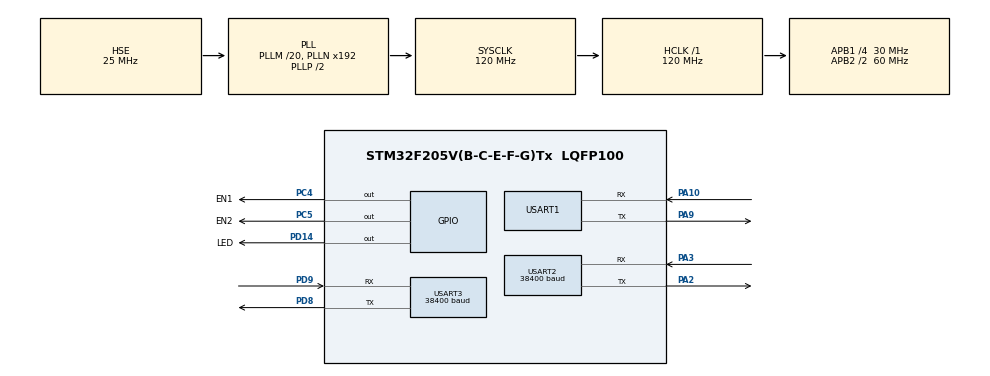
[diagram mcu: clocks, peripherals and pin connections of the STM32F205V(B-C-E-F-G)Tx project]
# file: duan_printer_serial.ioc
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Dma.Request0=USART2_RX
Dma.Request1=USART2_TX
Dma.Request2=USART3_RX
Dma.Request3=USART3_TX
Dma.USART2_RX.0.Direction=DMA_PERIPH_TO_MEMORY
Dma.USART2_RX.0.FIFOMode=DMA_FIFOMODE_DISABLE
Dma.USART2_RX.0.Instance=DMA1_Stream5
Dma.USART2_RX.0.MemDataAlignment=DMA_MDATAALIGN_BYTE
Dma.USART2_RX.0.MemInc=DMA_MINC_ENABLE
Dma.USART2_RX.0.Mode=DMA_NORMAL
Dma.USART2_RX.0.PeriphDataAlignment=DMA_PDATAALIGN_BYTE
Dma.USART2_RX.0.PeriphInc=DMA_PINC_DISABLE
Dma.USART2_RX.0.Priority=DMA_PRIORITY_LOW
Dma.USART2_TX.1.Direction=DMA_MEMORY_TO_PERIPH
Dma.USART2_TX.1.FIFOMode=DMA_FIFOMODE_DISABLE
Dma.USART2_TX.1.Instance=DMA1_Stream6
Dma.USART2_TX.1.MemDataAlignment=DMA_MDATAALIGN_BYTE
Dma.USART2_TX.1.MemInc=DMA_MINC_ENABLE
Dma.USART2_TX.1.Mode=DMA_NORMAL
Dma.USART2_TX.1.PeriphDataAlignment=DMA_PDATAALIGN_BYTE
Dma.USART2_TX.1.PeriphInc=DMA_PINC_DISABLE
Dma.USART2_TX.1.Priority=DMA_PRIORITY_LOW
Dma.USART3_RX.2.Direction=DMA_PERIPH_TO_MEMORY
Dma.USART3_RX.2.FIFOMode=DMA_FIFOMODE_DISABLE
Dma.USART3_RX.2.Instance=DMA1_Stream1
Dma.USART3_RX.2.MemDataAlignment=DMA_MDATAALIGN_BYTE
Dma.USART3_RX.2.MemInc=DMA_MINC_ENABLE
Dma.USART3_RX.2.Mode=DMA_NORMAL
Dma.USART3_RX.2.PeriphDataAlignment=DMA_PDATAALIGN_BYTE
Dma.USART3_RX.2.PeriphInc=DMA_PINC_DISABLE
Dma.USART3_RX.2.Priority=DMA_PRIORITY_LOW
Dma.USART3_TX.3.Direction=DMA_MEMORY_TO_PERIPH
Dma.USART3_TX.3.FIFOMode=DMA_FIFOMODE_DISABLE
Dma.USART3_TX.3.Instance=DMA1_Stream3
Dma.USART3_TX.3.MemDataAlignment=DMA_MDATAALIGN_BYTE
Dma.USART3_TX.3.MemInc=DMA_MINC_ENABLE
Dma.USART3_TX.3.Mode=DMA_NORMAL
Dma.USART3_TX.3.PeriphDataAlignment=DMA_PDATAALIGN_BYTE
Dma.USART3_TX.3.PeriphInc=DMA_PINC_DISABLE
Dma.USART3_TX.3.Priority=DMA_PRIORITY_LOW
Mcu.Family=STM32F2
Mcu.Name=STM32F205V(B-C-E-F-G)Tx
Mcu.Package=LQFP100
NVIC.DMA1_Stream1_IRQn=true\:0\:0\:false\:false\:true\:false\:true\:true
NVIC.DMA1_Stream3_IRQn=true\:0\:0\:false\:false\:true\:false\:true\:true
NVIC.DMA1_Stream5_IRQn=true\:0\:0\:false\:false\:true\:false\:true\:true
NVIC.DMA1_Stream6_IRQn=true\:0\:0\:false\:false\:true\:false\:true\:true
NVIC.PriorityGroup=NVIC_PRIORITYGROUP_4
NVIC.USART1_IRQn=true\:0\:0\:false\:false\:true\:true\:true\:true
NVIC.USART2_IRQn=true\:0\:0\:false\:false\:true\:true\:true\:true
NVIC.USART3_IRQn=true\:0\:0\:false\:false\:true\:true\:true\:true
PA10.Mode=Asynchronous
PA10.Signal=USART1_RX
PA13.Mode=Serial_Wire
PA13.Signal=SYS_JTMS-SWDIO
PA14.Mode=Serial_Wire
PA14.Signal=SYS_JTCK-SWCLK
PA2.Mode=Asynchronous
PA2.Signal=USART2_TX
PA3.Mode=Asynchronous
PA3.Signal=USART2_RX
PA9.Mode=Asynchronous
PA9.Signal=USART1_TX
PC4.GPIO_Label=EN1
PC4.GPIO_PuPd=GPIO_PULLDOWN
PC4.Signal=GPIO_Output
PC5.GPIO_Label=EN2
PC5.GPIO_PuPd=GPIO_PULLUP
PC5.Signal=GPIO_Output
PD14.GPIO_Label=LED
PD14.Signal=GPIO_Output
PD8.Mode=Asynchronous
PD8.Signal=USART3_TX
PD9.Mode=Asynchronous
PD9.Signal=USART3_RX
PH0-OSC_IN.Mode=HSE-External-Oscillator
PH0-OSC_IN.Signal=RCC_OSC_IN
PH1-OSC_OUT.Mode=HSE-External-Oscillator
PH1-OSC_OUT.Signal=RCC_OSC_OUT
ProjectManager.HeapSize=0x200
ProjectManager.StackSize=0x400
ProjectManager.TargetToolchain=STM32CubeIDE
RCC.48MHZClocksFreq_Value=60000000
RCC.AHBFreq_Value=120000000
RCC.APB1CLKDivider=RCC_HCLK_DIV4
RCC.APB1Freq_Value=30000000
RCC.APB1TimFreq_Value=60000000
RCC.APB2CLKDivider=RCC_HCLK_DIV2
RCC.APB2Freq_Value=60000000
RCC.APB2TimFreq_Value=120000000
RCC.CortexFreq_Value=120000000
RCC.HCLKFreq_Value=120000000
RCC.HSE_VALUE=25000000
RCC.HSI_VALUE=16000000
RCC.LSE_VALUE=32768
RCC.PLLM=20
RCC.PLLSourceVirtual=RCC_PLLSOURCE_HSE
RCC.SYSCLKFreq_VALUE=120000000
RCC.SYSCLKSource=RCC_SYSCLKSOURCE_PLLCLK
RCC.VCOOutputFreq_Value=240000000
USART1.VirtualMode=VM_ASYNC
USART2.BaudRate=38400
USART2.VirtualMode=VM_ASYNC
USART3.BaudRate=38400
USART3.VirtualMode=VM_ASYNC
board=custom

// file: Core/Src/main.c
/* USER CODE BEGIN Header */
/**
  ******************************************************************************
  * @file           : main.c
  * @brief          : Main program body
  ******************************************************************************
  * @attention
  *
  * Copyright (c) 2024 STMicroelectronics.
  * All rights reserved.
  *
  * This software is licensed under terms that can be found in the LICENSE file
  * in the root directory of this software component.
  * If no LICENSE file comes with this software, it is provided AS-IS.
  *
  ******************************************************************************
  */
/* USER CODE END Header */
#include "main.h"

/* USER CODE BEGIN Includes */
#include "stdio.h"
#include "string.h"
#include "stdbool.h"
#include "FLASH_SECTOR_F2.h"
/* USER CODE END Includes */

/* USER CODE BEGIN PD */
#define FLASH_SECTOR_ADDRESS1 ADDR_FLASH_SECTOR_1	/* Base @ of Sector 0, 16 Kbytes */
#define FLASH_SECTOR_ADDRESS2 ADDR_FLASH_SECTOR_2	/* Base @ of Sector 1, 16 Kbytes */
#define FLASH_SECTOR_ADDRESS3 ADDR_FLASH_SECTOR_3	/* Base @ of Sector 2, 16 Kbytes */
#define FLASH_SECTOR_ADDRESS4 ADDR_FLASH_SECTOR_4	/* Base @ of Sector 3, 16 Kbytes */
#define FLASH_SECTOR_ADDRESS5 ADDR_FLASH_SECTOR_5	/* Base @ of Sector 4, 64 Kbytes */
#define FLASH_SECTOR_ADDRESS6 ADDR_FLASH_SECTOR_6	/* Base @ of Sector 5, 128 Kbytes */
#define FLASH_SECTOR_ADDRESS7 ADDR_FLASH_SECTOR_7	/* Base @ of Sector 6, 128 Kbytes */
#define FLASH_SECTOR_ADDRESS8 ADDR_FLASH_SECTOR_8	/* Base @ of Sector 7, 128 Kbytes */
#define FLASH_SECTOR_ADDRESS9 ADDR_FLASH_SECTOR_9	/* Base @ of Sector 8, 128 Kbytes */
#define FLASH_SECTOR_ADDRESS10 ADDR_FLASH_SECTOR_10	/* Base @ of Sector 9, 128 Kbytes */
#define FLASH_SECTOR_ADDRESS11 ADDR_FLASH_SECTOR_11	/* Base @ of Sector 10, 128 Kbytes */
#define FLASH_SECTOR_ADDRESS12 ADDR_FLASH_SECTOR_12	/* Base @ of Sector 11, 128 Kbytes */
/* USER CODE END PD */

UART_HandleTypeDef huart1;
UART_HandleTypeDef huart2;
UART_HandleTypeDef huart3;
DMA_HandleTypeDef hdma_usart2_rx;
DMA_HandleTypeDef hdma_usart2_tx;
DMA_HandleTypeDef hdma_usart3_rx;
DMA_HandleTypeDef hdma_usart3_tx;

void SystemClock_Config(void);
static void MX_GPIO_Init(void);
static void MX_DMA_Init(void);
static void MX_USART2_UART_Init(void);
static void MX_USART3_UART_Init(void);
static void MX_USART1_UART_Init(void);
void HAL_UART_RxCpltCallback(UART_HandleTypeDef *huart);
void HAL_UARTEx_RxEventCallback(UART_HandleTypeDef *huart, uint16_t Size);
void HAL_UART_TxCpltCallback(UART_HandleTypeDef *huart);
/* USER CODE BEGIN PFP */
#ifdef __GNUC__
#define PUTCHAR_PROTOTYPE int __io_putchar (int ch)
#else
#define PUTCHAR_PROTOTYPE int fputc (int ch, FILE *f)
#endif

PUTCHAR_PROTOTYPE
{
HAL_UART_Transmit(&huart1,(uint8_t *)&ch,1,0xFFFF);

return ch;
}
/* USER CODE END PFP */

/* USER CODE BEGIN 0 */
#define BUFFER_SIZE 4096
#define MAX_BUFFER_CMD_ESP 20
#define RX5_BUFF_SIZE   20

#define MAX_USER_GET_UART_REQUEST 1000

bool save_to_flash_flag = false;
uint8_t flash_data_buffer[BUFFER_SIZE];
uint16_t flash_data_size = 0;

uint8_t USER_RX_Buffer[RX5_BUFF_SIZE];

uint32_t Rx_Data[BUFFER_SIZE];
uint8_t u[5];
uint8_t temp[5];

uint8_t ui8_status_esp =0U;
uint32_t ui32_timerxset =0;

uint8_t uart2_temp_buffer[BUFFER_SIZE];
uint16_t uart2_temp_size = 0;
uint32_t last_save_tick = 0;

typedef struct{
	uint8_t ui8_RX_buf[2];
	uint8_t ui8_str[MAX_BUFFER_CMD_ESP];
	uint8_t ui8_busy;
	uint8_t ui8_newinchar;
	uint8_t ui8_RX;
	uint8_t ui8_indexUart;
	uint8_t ui8_newpagkage;
	uint8_t ui8_newcmd;
	uint32_t CountTX;

	uint8_t ui8_rx2Data[BUFFER_SIZE];
	uint8_t ui8_rx3Data[BUFFER_SIZE];

	uint8_t ui8_tx2Data[BUFFER_SIZE];
	uint8_t ui8_tx3Data[BUFFER_SIZE];

	uint8_t ui8_indexUart2;
	uint8_t ui8_indexUart3;

	uint32_t ui32_timer;
	uint32_t ui32_startTick;
	uint32_t ui32_CountTX;

	int uart2_processingData;
	int uart3_processingData;
	int uart2_receivedData;
	int uart3_receivedData;

	uint16_t ui16_tx2Size;
	uint16_t ui16_tx3Size;

	uint16_t ui16_countIT2;
	uint16_t ui16_countIT3;

	uint16_t ui16_count2;
	uint16_t ui16_count3;

	uint16_t ui16_countTX2;
	uint16_t ui16_countTX3;

	uint16_t ui16_data2Size;
	uint16_t ui16_data3Size;

}xulyuart_typedef;

xulyuart_typedef xulyUart = {
		.CountTX = 0,
		.ui8_indexUart = 0,

		.ui8_indexUart2 = 0,
		.ui8_indexUart3 = 0,

		.uart2_processingData = 0,
		.uart2_receivedData = 0,
		.uart3_processingData = 0,
		.uart3_receivedData = 0,

		.ui32_CountTX = 0,

		.ui16_countIT2 = 0,
		.ui16_countIT3 = 0,

		.ui16_count2 = 0,
		.ui16_count3 = 0,

		.ui16_countTX2 = 0,
		.ui16_countTX3 = 0,

		.ui16_data2Size = 0,
		.ui16_data3Size = 0
};

typedef enum {
    UART_STATE_IDLE,
    UART_STATE_RECEIVED,
    UART_STATE_PROCESSING,
    UART_STATE_TRANSMITTING,
    UART_STATE_COMPLETED
} UART_State;

UART_State uart2_state = UART_STATE_IDLE;
UART_State uart3_state = UART_STATE_IDLE;

#if 0
// xu ly data nhan duoc tu may in (printer)
void PrintUart3Data(uint8_t* data, uint16_t size) {
//	printf("(Read Data): \n");
    for (int j = 0; j < size; j++) {
//        printf("%d = %02x ", j, data[j]);
//    	printf("%02x ", data[j]);

#if 1
    	//truong hop nap may in dang mo
    	if (data[j] == 0x3c && data[j+1] == 0x00 && data[j+2] == 0x00 && data[j+3] == 0x0f)
    	{
//    		if(xulyUart.ui8_indexUart3 == 1)
//    		{
    			printf("(Read Data): \n");
    			printf("Mo nap may \n");
//    			printf("%02x %02x %02x %02x \n", data[j], data[j+1], data[j+2], data[j+3]);
//    		}
    	} else if (data[j] == 0x3c && data[j+1] == 0x00 && data[j+2] == 0x03 && data[j+3] == 0x0f) //truong hop nap may in dang mo (nhưng đang hết giấy)
    	{
//    		if(xulyUart.ui8_indexUart3 == 1)
//    		{
        		printf("(Read Data): \n");
        		printf("Mo nap may (PAPER OUT) \n");
//        		printf("%02x %02x %02x %02x \n", data[j], data[j+1], data[j+2], data[j+3]);
//    		}
    	}

    	//truong hop nap may in dang dong nap
    	if (data[j] == 0x14 && data[j+1] == 0x00 && data[j+2] == 0x00 && data[j+3] == 0x0f)
    	{
//    		if(xulyUart.ui8_indexUart3 == 1)
//    		{
    			printf("(Read Data): \n");
    			printf("Dong nap may \n");
//    			printf("%02x %02x %02x %02x \n", data[j], data[j+1], data[j+2], data[j+3]);
//    		}
    	} else if (data[j] == 0x14 && data[j+1] == 0x00 && data[j+2] == 0x03 && data[j+3] == 0x0f) //truong hop nap may in dang mo (nhưng đang hết giấy)
    	{
//    		if(xulyUart.ui8_indexUart3 == 1)
//    		{
        		printf("(Read Data): \n");
        		printf("Dong nap may (PAPER OUT) \n");
//        		printf("%02x %02x %02x %02x \n", data[j], data[j+1], data[j+2], data[j+3]);
//    		}
    	}

//    	//truong hop may in dang feed giay
    	if (data[j] == 0x5c && data[j+1] == 0x00 && data[j+2] == 0x00 && data[j+3] == 0x0f)
    	{
    		printf("(Read Data): \n");
    		printf("FEED \n");
//    		printf("%02x %02x %02x %02x \n", data[j], data[j+1], data[j+2], data[j+3]);
    	} else if (data[j] == 0x5c && data[j+1] == 0x00 && data[j+2] == 0x03 && data[j+3] == 0x0f)
    	{
    		printf("(Read Data): \n");
    		printf("FEED (PAPER OUT) \n");
//    		printf("%02x %02x %02x %02x \n", data[j], data[j+1], data[j+2], data[j+3]);
    	}

    	//tat may in
    	if(data[j] == 0x1c && data[j+1] == 0x00 && data[j+2] == 0x00 && data[j+3] == 0x0f)
    	{
    		printf("(Read Data): \n");
    		printf("Turn off machine \n");
//    		printf("%02x %02x %02x %02x \n", data[j], data[j+1], data[j+2],data[j+3]);
    	} else if (data[j] == 0x1c && data[j+1] == 0x00 && data[j+2] == 0x03 && data[j+3] == 0x0f)
    	{
    		printf("(Read Data): \n");
    		printf("Turn off machine (PAPER OUT) \n");
//    		printf("%02x %02x %02x %02x \n", data[j], data[j+1], data[j+2], data[j+3]);
    	}

    	//mo may in

    	//thong tin may in
    	if(data[j] == 0x5f && data[j+1] == 0x54 && data[j+2] == 0x4d && data[j+3] == 0x2d && data[j+4] == 0x54 && data[j+5] == 0x38 && data[j+6] == 0x38 && data[j+7] == 0x49 && data[j+8] == 0x49 && data[j+9] == 0x49 && data[j+10] == 0x00)
    	{
//    		if(xulyUart.ui8_indexUart3 == 1)
//    		{
    			printf("(Read Data): \n");
    			printf("_TM-T88III. \n");
//    			printf("%02x %02x %02x %02x %02x %02x %02x %02x %02x %02x %02x \n", data[j], data[j+1], data[j+2],
//    									data[j+3], data[j+4], data[j+5], data[j+6], data[j+7],
//										data[j+8], data[j+9], data[j+10]);
//    		}
    	}

    	//

#endif
    }
    printf("\n");
}
#endif

#if 1
void PrintUart3Data(uint8_t* data, uint16_t size)
{
	for (int j = 0; j < size; j++)
	{
		switch (data[j])
		{
		case 0x3c:
			if (data[j+1] == 0x00 && data[j+2] == 0x00 && data[j+3] == 0x0f)
			{
				printf("(Read Data): Mo nap may\n");
			}
			else if(data[j+1] == 0x00 && data[j+2] == 0x03 && data[j+3] == 0x0f)
			{
				printf("(Read Data): Mo nap may (PAPER OUT)\n");
			}
			break;
		case 0x14:
			if (data[j+1] == 0x00 && data[j+2] == 0x00 && data[j+3] == 0x0f)
			{
				printf("(Read Data): Dong nap may\n");
			}
			else if (data[j+1] == 0x00 && data[j+2] == 0x03 && data[j+3] == 0x0f)
			{
				printf("(Read Data): Dong nap may (PAPER OUT)\n");
			}
			break;
		case 0x5c:
			if (data[j+1] == 0x00 && data[j+2] == 0x00 && data[j+3] == 0x0f)
			{
				printf("(Read Data): FEED\n");
			}
			else if (data[j+1] == 0x00 && data[j+2] == 0x03 && data[j+3] == 0x0f)
			{
				printf("(Read Data): FEED (PAPER OUT)\n");
			}
			break;
		case 0x1c:
			if (data[j+1] == 0x00 && data[j+2] == 0x00 && data[j+3] == 0x0f)
			{
				printf("(Read Data): Turn off machine\n");
			}
			else if (data[j+1] == 0x00 && data[j+2] == 0x03 && data[j+3] == 0x0f)
			{
				printf("(Read Data): Turn off machine (PAPER OUT)\n");
			}
			break;
		case 0x5f:
            if (data[j+1] == 0x54 && data[j+2] == 0x4d && data[j+3] == 0x2d && data[j+4] == 0x54 &&
                data[j+5] == 0x38 && data[j+6] == 0x38 && data[j+7] == 0x49 && data[j+8] == 0x49 &&
                data[j+9] == 0x49 && data[j+10] == 0x00)
            {
            	printf("(Read Data): _TM-T88III.\n");
            }
            break;
		default:
			break;
		}
	}
	printf("\n");
}
#endif

#if (ChuaVietXongHamNay)
void ProcessUartData(uint8_t* data, uint16_t size) {
    for (uint16_t i = 0; i < size; i++) {
        // Check for start of print job
        if (!printing && data[i] == 0x1b && i + 5 < size &&
            data[i + 1] == 0x3d && data[i + 2] == 0x01 &&
            data[i + 3] == 0x1d && data[i + 4] == 0x28) {
            printing = true;
            print_buffer_index = 0;
            current_flash_sector = FLASH_SECTOR_ADDRESS5; // Start from the first sector
            printf("Start of print job\n");
        }

        // Check for end of print job
        if (printing && data[i] == 0x1b && i + 5 < size &&
            data[i + 1] == 0x3d && data[i + 2] == 0x01 &&
            data[i + 3] == 0x1d && data[i + 4] == 0x29) {
            printing = false;
            if (print_buffer_index > 0) {
                uint32_t num_of_words = (print_buffer_index / 4) + ((print_buffer_index % 4) != 0);
                Flash_Write_Data(current_flash_sector, (uint32_t *)print_buffer, num_of_words);
            }
            printf("End of print job\n");
        }

        if (printing) {
            print_buffer[print_buffer_index++] = data[i];

            // If buffer is full, write to flash
            if (print_buffer_index >= FLASH_SECTOR_SIZE) {
                Flash_Erase_sector(current_flash_sector);
                uint32_t num_of_words = FLASH_SECTOR_SIZE / 4;
                Flash_Write_Data(current_flash_sector, (uint32_t *)print_buffer, num_of_words);
                current_flash_sector += FLASH_SECTOR_SIZE;
                print_buffer_index = 0;
            }
        }
    }
}
#endif

#if 0
void HAL_UARTEx_RxEventCallback(UART_HandleTypeDef *huart, uint16_t Size)
{
	if (huart->Instance == USART2)
	{
//		xulyUart.ui16_countIT2++;
		xulyUart.ui16_data2Size += Size;

		xulyUart.ui16_tx3Size = Size;

		if(xulyUart.ui16_tx3Size < 1024)
		{
			xulyUart.ui16_countIT2++;
		}
		memcpy(xulyUart.ui8_tx3Data, xulyUart.ui8_rx2Data, xulyUart.ui16_tx3Size);
//		memcpy(ui8_tempBuf, xulyUart.ui8_rx2Data, xulyUart.ui16_tx3Size);

		xulyUart.uart2_receivedData = 1;
//		xulyUart.ui8_indexUart2 = 1;

		HAL_UARTEx_ReceiveToIdle_IT(&huart2, xulyUart.ui8_rx2Data, BUFFER_SIZE);
//		PrintUart2Data(xulyUart.ui8_rx2Data, xulyUart.ui16_tx3Size);
		uart2_state = UART_STATE_RECEIVED;
	}
	if (huart->Instance == USART3)
	{
//		xulyUart.ui16_countIT3++;
		xulyUart.ui16_data3Size += Size;

		xulyUart.ui16_tx2Size = Size;

		if(xulyUart.ui16_tx2Size < 1024)
		{
			xulyUart.ui16_countIT3++;
		}

		memcpy(xulyUart.ui8_tx2Data, xulyUart.ui8_rx3Data, xulyUart.ui16_tx2Size);
		xulyUart.uart3_receivedData = 1;
//		xulyUart.ui8_indexUart3 = 1;
		HAL_UARTEx_ReceiveToIdle_IT(&huart3, xulyUart.ui8_rx3Data, BUFFER_SIZE);
		PrintUart3Data(xulyUart.ui8_rx3Data, xulyUart.ui16_tx2Size);
		uart3_state = UART_STATE_RECEIVED;
	}
}

void HAL_UART_TxCpltCallback(UART_HandleTypeDef *huart)
{
	if (huart->Instance == USART2)
	{
		xulyUart.ui16_countTX2++;
		xulyUart.uart2_processingData = 0;
	}
	if (huart->Instance == USART3)
	{
		xulyUart.ui16_countTX3++;
		xulyUart.uart3_processingData = 0;
	}
}
#endif

void Handle_Uart()
{
	//test
	if(USER_RX_Buffer[0] == 't')
	{
		USER_RX_Buffer[0]=0;
		printf("Xin Chao \n");
		fflush(stdout); // Đảm bảo đầu ra ngay lập tức
	}
    else if (USER_RX_Buffer[0] == 'x')
    {
        USER_RX_Buffer[0] = 0;
        printf("Bat dau xoa flash\n");
        fflush(stdout); // Đảm bảo đầu ra ngay lập tức

        uint32_t start_tick = HAL_GetTick();

        // Xóa các sector của flash
        printf("Erasing sector 5\n");
        Flash_Erase_sector(FLASH_SECTOR_ADDRESS5);

        printf("Erasing sector 6\n");
        Flash_Erase_sector(FLASH_SECTOR_ADDRESS6);

        printf("Erasing sector 7\n");
        Flash_Erase_sector(FLASH_SECTOR_ADDRESS7);

        //neu xoa 3 vung nay se bi dung chuong trình
#if 0
        printf("Erasing sector 8\n");
        Flash_Erase_sector(FLASH_SECTOR_ADDRESS8);

        printf("Erasing sector 9\n");
        Flash_Erase_sector(FLASH_SECTOR_ADDRESS9);

        printf("Erasing sector 10\n");
        Flash_Erase_sector(FLASH_SECTOR_ADDRESS10);

        printf("Erasing sector 11\n");
        Flash_Erase_sector(FLASH_SECTOR_ADDRESS11);
#endif

        // Thử xóa các sector từ 9 đến 11 và kiểm tra lỗi
//        for (int i = 9; i <= 11; i++)
//        {
//            uint32_t sector_address = FLASH_SECTOR_ADDRESS9 + (i - 9) * (FLASH_SECTOR_ADDRESS10 - FLASH_SECTOR_ADDRESS9);
//            printf("Erasing sector %d\n", i);
//            fflush(stdout);
//
//            Flash_Erase_sector(sector_address);
//            HAL_Delay(100); // Thêm thời gian nghỉ ngơi
//        }

//        printf("Da xoa flash");

        uint32_t end_tick = HAL_GetTick();
        printf("Da xoa flash trong %lu ms\r\n", end_tick - start_tick);
        fflush(stdout); // Đảm bảo đầu ra ngay lập tức
    }
}

void xuly_command_ESP()
{
	USER_RX_Buffer[0] = xulyUart.ui8_newinchar;
	Handle_Uart();
}

void save_data_to_flash(uint8_t* data, uint32_t length) {
	int byte_count = 0;
    printf("Bat dau luu data vao flash\r\n");

    // Erase flash sector
    printf("Dang xoa sector flash\r\n");
    Flash_Erase_sector(FLASH_SECTOR_ADDRESS4);

    uint32_t num_of_words = (length / 4) + ((length % 4) != 0);

    printf("Dang ghi data vao flash\r\n");
    uint32_t start_tick = HAL_GetTick();
    Flash_Write_Data(FLASH_SECTOR_ADDRESS4, (uint32_t *)data, num_of_words);
    uint32_t end_tick = HAL_GetTick();
    printf("Ghi hoan tat trong %lu ms\r\n", end_tick - start_tick);

    Flash_Read_Data(FLASH_SECTOR_ADDRESS4, Rx_Data, num_of_words);

    printf("Data doc tu flash:\r\n");
    for (int i = 0; i < num_of_words; i++) {

    	byte_count += 4; // Mỗi lần in ra 4 byte

        convertdata(Rx_Data[i], u);
        printf("%02x %02x %02x %02x ", u[0], u[1], u[2], u[3]);

        if (byte_count > 20) {
            printf("\n"); // Xuống hàng
            byte_count = 0; // Đặt lại biến đếm
        }
    }
    printf("\n");
}

void wait_res_init(uint32_t timeout_wait_)
{
	ui32_timerxset = HAL_GetTick() + timeout_wait_;
	ui8_status_esp =1U;

}

/* USER CODE END 0 */

int main(void)
{

  /* MCU Configuration--------------------------------------------------------*/

  /* Reset of all peripherals, Initializes the Flash interface and the Systick. */
  HAL_Init();

  /* Configure the system clock */
  SystemClock_Config();

  /* Initialize all configured peripherals */
  MX_GPIO_Init();
  MX_DMA_Init();
  MX_USART2_UART_Init();
  MX_USART3_UART_Init();
  MX_USART1_UART_Init();
  /* USER CODE BEGIN 2 */
  HAL_GPIO_WritePin(GPIOC, EN1_Pin, 1);
  HAL_GPIO_WritePin(GPIOC, EN2_Pin, 0);

//  char str[]="\nSTM205VGT6 hello";
//  HAL_UART_Transmit(&huart1, (uint8_t *)str, sizeof(str), 100);
//  HAL_UART_Transmit(&huart2, (uint8_t *)str, sizeof(str), 100);
//  HAL_UART_Transmit(&huart3, (uint8_t *)str, sizeof(str), 100);

  HAL_UART_Receive_IT(&huart1, xulyUart.ui8_RX_buf, 1);
  HAL_UARTEx_ReceiveToIdle_IT(&huart2, xulyUart.ui8_rx2Data, BUFFER_SIZE);
  HAL_UARTEx_ReceiveToIdle_IT(&huart3, xulyUart.ui8_rx3Data, BUFFER_SIZE);

  /* USER CODE END 2 */

  /* Infinite loop */
  while (1)
  {

    /* USER CODE BEGIN 3 */
//		if(xulyUart.ui32_timer<HAL_GetTick())
//		{
//			xulyUart.ui32_timer=HAL_GetTick()+1000;
////			char str3[]="\nSTM3205VGT6 3333";
////			char str2[]="\nSTM3205VGT6 2222";
////			HAL_UART_Transmit(&huart2, (uint8_t *) str2,sizeof(str2) , 10);
////			HAL_UART_Transmit(&huart3, (uint8_t *) str3,sizeof(str3) , 10);
//
//			HAL_GPIO_TogglePin(GPIOD, LED_Pin);
//		}

      if (xulyUart.ui32_timer < HAL_GetTick()) {
          xulyUart.ui32_timer = HAL_GetTick() + 5000;
          HAL_GPIO_TogglePin(GPIOD, LED_Pin);
      }

#if 0
      if(xulyUart.CountTX < xulyUart.ui8_indexUart)
      {
		  int vitridoctin = xulyUart.CountTX % MAX_USER_GET_UART_REQUEST;
		  uint8_t inchar = xulyUart.ui8_str[vitridoctin];
		  xulyUart.CountTX++;
//		  HAL_UART_Transmit_IT(&huart2, &inchar, 1);
//		  HAL_UART_Transmit(&huart1, &inchar, sizeof(inchar), 1000);
      }bdeeee
#endif

//	  if (xulyUart.ui8_newcmd == 1){
//		  HAL_UART_Transmit(&huart2, (uint8_t *) xulyUart.ui8_str,xulyUart.ui8_indexUart, 10);
////		  HAL_UART_Transmit(&huart3, (uint8_t *) xulyUart.ui8_str,xulyUart.ui8_indexUart, 10);
//		  xulyUart.ui8_newcmd =0;
//	  }
	  	  //nhan data tu uart 3 gui cho uart2
	  if(xulyUart.uart3_receivedData == 1 && xulyUart.uart2_processingData == 0)
	  {
		  HAL_UART_Transmit_IT(&huart2, xulyUart.ui8_tx2Data, xulyUart.ui16_tx2Size);
		  xulyUart.uart2_processingData = 1;
		  xulyUart.uart3_receivedData = 0;
	  }
	  //nhan data tu uart 2 gui cho uart3
	  if(xulyUart.uart2_receivedData == 1 && xulyUart.uart3_processingData == 0)
	  {
		  HAL_UART_Transmit_IT(&huart3, xulyUart.ui8_tx3Data, xulyUart.ui16_tx3Size);
//		  HAL_UART_Transmit(&huart2, xulyUart.ui8_tx3Data,xulyUart.ui16_tx3Size, 100);
//		  save_data_to_flash(xulyUart.ui8_tx3Data, xulyUart.ui16_tx3Size);
		  xulyUart.uart3_processingData = 1;
		  xulyUart.uart2_receivedData = 0;
	  }

	  if(xulyUart.ui8_newpagkage == 1)
	  {
//		  HAL_UART_Transmit(&huart2, (uint8_t *) xulyUart.ui8_str,xulyUart.ui8_indexUart, 100);
		  xulyUart.ui8_newpagkage = 0;
		  xuly_command_ESP();
	  }

	  // Xử lý lưu dữ liệu vào flash
//	  if (save_to_flash_flag)
//	  {
//		  save_to_flash_flag = false;
//		  printf("flash_data_size: %d \n",flash_data_size);
//		  save_data_to_flash(flash_data_buffer, flash_data_size);
//	  }

#if 0
      switch (uart3_state) {
          case UART_STATE_RECEIVED:
              if (xulyUart.uart2_processingData == 0) {
                  HAL_UART_Transmit_IT(&huart2, xulyUart.ui8_tx2Data, xulyUart.ui16_tx2Size);
                  xulyUart.uart2_processingData = 1;
                  xulyUart.uart3_receivedData = 0;
                  uart3_state = UART_STATE_PROCESSING;
              }
              break;
          case UART_STATE_PROCESSING:
              break;
          case UART_STATE_COMPLETED:
              uart3_state = UART_STATE_IDLE;
              break;
          default:
              break;
      }

      switch (uart2_state)
      {
      case UART_STATE_RECEIVED:
    	  if (xulyUart.uart3_processingData == 0)
    	  {
    		  HAL_UART_Transmit_IT(&huart3, xulyUart.ui8_tx3Data, xulyUart.ui16_tx3Size);
    		  xulyUart.uart3_processingData = 1;
    		  xulyUart.uart2_receivedData = 0;
    		  uart2_state = UART_STATE_PROCESSING;
    	  }
    	  break;
      case UART_STATE_PROCESSING:
    	  break;
      case UART_STATE_COMPLETED:
    	  uart2_state = UART_STATE_IDLE;
    	  break;
      default:
    	  break;
      }
#endif

  }
  /* USER CODE END 3 */
}

void SystemClock_Config(void)
{
  RCC_OscInitTypeDef RCC_OscInitStruct = {0};
  RCC_ClkInitTypeDef RCC_ClkInitStruct = {0};

  /** Initializes the RCC Oscillators according to the specified parameters
  * in the RCC_OscInitTypeDef structure.
  */
  RCC_OscInitStruct.OscillatorType = RCC_OSCILLATORTYPE_HSE;
  RCC_OscInitStruct.HSEState = RCC_HSE_ON;
  RCC_OscInitStruct.PLL.PLLState = RCC_PLL_ON;
  RCC_OscInitStruct.PLL.PLLSource = RCC_PLLSOURCE_HSE;
  RCC_OscInitStruct.PLL.PLLM = 20;
  RCC_OscInitStruct.PLL.PLLN = 192;
  RCC_OscInitStruct.PLL.PLLP = RCC_PLLP_DIV2;
  RCC_OscInitStruct.PLL.PLLQ = 4;
  if (HAL_RCC_OscConfig(&RCC_OscInitStruct) != HAL_OK)
  {
    Error_Handler();
  }

  /** Initializes the CPU, AHB and APB buses clocks
  */
  RCC_ClkInitStruct.ClockType = RCC_CLOCKTYPE_HCLK|RCC_CLOCKTYPE_SYSCLK
                              |RCC_CLOCKTYPE_PCLK1|RCC_CLOCKTYPE_PCLK2;
  RCC_ClkInitStruct.SYSCLKSource = RCC_SYSCLKSOURCE_PLLCLK;
  RCC_ClkInitStruct.AHBCLKDivider = RCC_SYSCLK_DIV1;
  RCC_ClkInitStruct.APB1CLKDivider = RCC_HCLK_DIV4;
  RCC_ClkInitStruct.APB2CLKDivider = RCC_HCLK_DIV2;

  if (HAL_RCC_ClockConfig(&RCC_ClkInitStruct, FLASH_LATENCY_3) != HAL_OK)
  {
    Error_Handler();
  }
}

static void MX_USART1_UART_Init(void)
{

  huart1.Instance = USART1;
  huart1.Init.BaudRate = 115200;
  huart1.Init.WordLength = UART_WORDLENGTH_8B;
  huart1.Init.StopBits = UART_STOPBITS_1;
  huart1.Init.Parity = UART_PARITY_NONE;
  huart1.Init.Mode = UART_MODE_TX_RX;
  huart1.Init.HwFlowCtl = UART_HWCONTROL_NONE;
  huart1.Init.OverSampling = UART_OVERSAMPLING_16;
  if (HAL_UART_Init(&huart1) != HAL_OK)
  {
    Error_Handler();
  }

}

static void MX_USART2_UART_Init(void)
{

  huart2.Instance = USART2;
  huart2.Init.BaudRate = 38400;
  huart2.Init.WordLength = UART_WORDLENGTH_8B;
  huart2.Init.StopBits = UART_STOPBITS_1;
  huart2.Init.Parity = UART_PARITY_NONE;
  huart2.Init.Mode = UART_MODE_TX_RX;
  huart2.Init.HwFlowCtl = UART_HWCONTROL_NONE;
  huart2.Init.OverSampling = UART_OVERSAMPLING_16;
  if (HAL_UART_Init(&huart2) != HAL_OK)
  {
    Error_Handler();
  }

}

static void MX_USART3_UART_Init(void)
{

  huart3.Instance = USART3;
  huart3.Init.BaudRate = 38400;
  huart3.Init.WordLength = UART_WORDLENGTH_8B;
  huart3.Init.StopBits = UART_STOPBITS_1;
  huart3.Init.Parity = UART_PARITY_NONE;
  huart3.Init.Mode = UART_MODE_TX_RX;
  huart3.Init.HwFlowCtl = UART_HWCONTROL_NONE;
  huart3.Init.OverSampling = UART_OVERSAMPLING_16;
  if (HAL_UART_Init(&huart3) != HAL_OK)
  {
    Error_Handler();
  }

}

static void MX_DMA_Init(void)
{

  /* DMA controller clock enable */
  __HAL_RCC_DMA1_CLK_ENABLE();

  /* DMA interrupt init */
  /* DMA1_Stream1_IRQn interrupt configuration */
  HAL_NVIC_SetPriority(DMA1_Stream1_IRQn, 0, 0);
  HAL_NVIC_EnableIRQ(DMA1_Stream1_IRQn);
  /* DMA1_Stream3_IRQn interrupt configuration */
  HAL_NVIC_SetPriority(DMA1_Stream3_IRQn, 0, 0);
  HAL_NVIC_EnableIRQ(DMA1_Stream3_IRQn);
  /* DMA1_Stream5_IRQn interrupt configuration */
  HAL_NVIC_SetPriority(DMA1_Stream5_IRQn, 0, 0);
  HAL_NVIC_EnableIRQ(DMA1_Stream5_IRQn);
  /* DMA1_Stream6_IRQn interrupt configuration */
  HAL_NVIC_SetPriority(DMA1_Stream6_IRQn, 0, 0);
  HAL_NVIC_EnableIRQ(DMA1_Stream6_IRQn);

}

static void MX_GPIO_Init(void)
{
  GPIO_InitTypeDef GPIO_InitStruct = {0};

  /* GPIO Ports Clock Enable */
  __HAL_RCC_GPIOH_CLK_ENABLE();
  __HAL_RCC_GPIOA_CLK_ENABLE();
  __HAL_RCC_GPIOC_CLK_ENABLE();
  __HAL_RCC_GPIOD_CLK_ENABLE();

  /*Configure GPIO pin Output Level */
  HAL_GPIO_WritePin(GPIOC, EN1_Pin|EN2_Pin, GPIO_PIN_RESET);

  /*Configure GPIO pin Output Level */
  HAL_GPIO_WritePin(LED_GPIO_Port, LED_Pin, GPIO_PIN_RESET);

  /*Configure GPIO pin : EN1_Pin */
  GPIO_InitStruct.Pin = EN1_Pin;
  GPIO_InitStruct.Mode = GPIO_MODE_OUTPUT_PP;
  GPIO_InitStruct.Pull = GPIO_PULLDOWN;
  GPIO_InitStruct.Speed = GPIO_SPEED_FREQ_LOW;
  HAL_GPIO_Init(EN1_GPIO_Port, &GPIO_InitStruct);

  /*Configure GPIO pin : EN2_Pin */
  GPIO_InitStruct.Pin = EN2_Pin;
  GPIO_InitStruct.Mode = GPIO_MODE_OUTPUT_PP;
  GPIO_InitStruct.Pull = GPIO_PULLUP;
  GPIO_InitStruct.Speed = GPIO_SPEED_FREQ_LOW;
  HAL_GPIO_Init(EN2_GPIO_Port, &GPIO_InitStruct);

  /*Configure GPIO pin : LED_Pin */
  GPIO_InitStruct.Pin = LED_Pin;
  GPIO_InitStruct.Mode = GPIO_MODE_OUTPUT_PP;
  GPIO_InitStruct.Pull = GPIO_NOPULL;
  GPIO_InitStruct.Speed = GPIO_SPEED_FREQ_LOW;
  HAL_GPIO_Init(LED_GPIO_Port, &GPIO_InitStruct);

}

/* USER CODE BEGIN 4 */
void HAL_UART_RxCpltCallback(UART_HandleTypeDef *huart)
{
	if (huart->Instance == USART1)
	{
		/*xử lý nhận uart theo gói*/
		uint8_t inchar = xulyUart.ui8_RX_buf[0];
		if (xulyUart.ui8_busy == 0)
		{
			if(inchar =='#')
			{
				xulyUart.ui8_RX = 1;
				xulyUart.ui8_indexUart = 0;
			}

			if(xulyUart.ui8_RX == 1)
			{
				xulyUart.ui8_str[xulyUart.ui8_indexUart] = inchar;
				xulyUart.ui8_indexUart++;

				if(xulyUart.ui8_indexUart > MAX_BUFFER_CMD_ESP -1)
				{
					/*tràn buffer*/
					xulyUart.ui8_RX = 0;
					xulyUart.ui8_indexUart = 0;
				}
				if(inchar == '$')
				{
					xulyUart.ui8_newcmd = 1;
					xulyUart.ui8_RX = 0;
					xulyUart.ui8_busy = 1;
				}
			}
			else
			{
				xulyUart.ui8_newpagkage = 1;
				xulyUart.ui8_newinchar = inchar;
			}
		}
		HAL_UART_Receive_IT(&huart1, xulyUart.ui8_RX_buf, 1);
	}
}

void HAL_UARTEx_RxEventCallback(UART_HandleTypeDef *huart, uint16_t Size)
{
	if (huart->Instance == USART2)
	{
//		xulyUart.ui16_countIT2++;
		xulyUart.ui16_data2Size += Size;

		xulyUart.ui16_tx3Size = Size;

		if(xulyUart.ui16_tx3Size < 1024)
		{
			xulyUart.ui16_countIT2++;
		}
		memcpy(xulyUart.ui8_tx3Data, xulyUart.ui8_rx2Data, xulyUart.ui16_tx3Size);
//		memcpy(ui8_tempBuf, xulyUart.ui8_rx2Data, xulyUart.ui16_tx3Size);

		xulyUart.uart2_receivedData = 1;
//		xulyUart.ui8_indexUart2 = 1;

		xulyUart.ui32_timer = HAL_GetTick();
		HAL_UARTEx_ReceiveToIdle_IT(&huart2, xulyUart.ui8_rx2Data, BUFFER_SIZE);
//		save_data_to_flash(xulyUart.ui8_rx2Data, xulyUart.ui16_tx3Size);
//		PrintUart2Data(xulyUart.ui8_rx2Data, xulyUart.ui16_tx3Size);

		// Đặt cờ và sao chép dữ liệu vào buffer flash
//		save_to_flash_flag = true;
//
//		memcpy(flash_data_buffer, xulyUart.ui8_rx2Data, Size);
//		flash_data_size = Size;

//		uart2_state = UART_STATE_RECEIVED;
	}
	if (huart->Instance == USART3)
	{
//		xulyUart.ui16_countIT3++;
		xulyUart.ui16_data3Size += Size;

		xulyUart.ui16_tx2Size = Size;

		if(xulyUart.ui16_tx2Size < 1024)
		{
			xulyUart.ui16_countIT3++;
		}

		memcpy(xulyUart.ui8_tx2Data, xulyUart.ui8_rx3Data, xulyUart.ui16_tx2Size);
		xulyUart.uart3_receivedData = 1;
//		xulyUart.ui8_indexUart3 = 1;
		HAL_UARTEx_ReceiveToIdle_IT(&huart3, xulyUart.ui8_rx3Data, BUFFER_SIZE);
		PrintUart3Data(xulyUart.ui8_rx3Data, xulyUart.ui16_tx2Size);
//		uart3_state = UART_STATE_RECEIVED;
	}
}

//void HAL_UART_RxCpltCallback(UART_HandleTypeDef *huart)
//{
//	if (huart->Instance == USART1)
//	{
//		uint8_t inchar = xulyUart.ui8_RX_buf[0];
//		int vitridoctin = xulyUart.ui8_indexUart % 1000;
//		xulyUart.ui8_str[vitridoctin] = inchar;
//		xulyUart.ui8_indexUart++;
//		HAL_UART_Receive_IT(&huart1, xulyUart.ui8_RX_buf, 1);
//	}
//}

void HAL_UART_TxCpltCallback(UART_HandleTypeDef *huart)
{
	if (huart->Instance == USART2)
	{
		xulyUart.ui16_countTX2++;
		xulyUart.uart2_processingData = 0;
	}
	if (huart->Instance == USART3)
	{
		xulyUart.ui16_countTX3++;
		xulyUart.uart3_processingData = 0;
	}
}
/* USER CODE END 4 */

void Error_Handler(void)
{
  __disable_irq();
  while (1)
  {
  }
}
